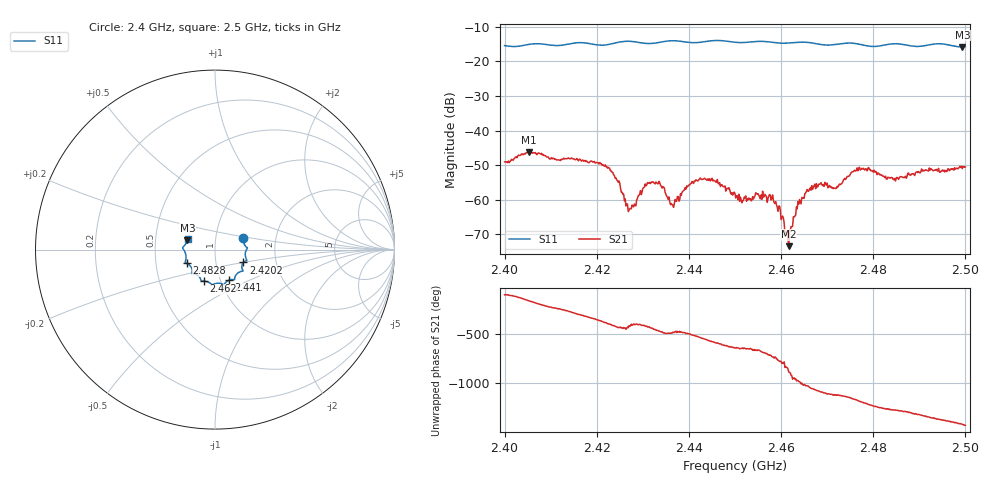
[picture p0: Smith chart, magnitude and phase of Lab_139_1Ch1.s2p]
# Hz S RI R 50
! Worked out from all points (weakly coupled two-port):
!   601 points, 2.4 GHz to 2.5 GHz, reference 50 ohm
!   highest |S21| = -46.25 dB at 2.4053 GHz (marker M1); lowest = -73.5 dB at 2.4617 GHz (marker M2)
!   lowest |S11| = -15.8 dB at 2.4993 GHz (marker M3), VSWR 1.39, Z = 36.5 + j3.87 ohm
!   |S11| at or under -10 dB: start of sweep to end of sweep
!   S12 and S22 are empty: the file has one direction only
!   S11 on the Smith chart (normalised r, x): 2.4 GHz: 1.36, +0.18; 2.4202 GHz: 1.36, -0.20; 2.441 GHz: 1.10, -0.39; 2.462 GHz: 0.84, -0.30; 2.4828 GHz: 0.72, -0.11; 2.5 GHz: 0.73, +0.09
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2.4e9  0.1583 0.0624  -0.00105 -0.00336  0 0  0 0
2.405333e9  0.1768 0.0129  -0.0048 -0.000823  0 0  0 0
2.416667e9  0.1773 -0.0608  0.0025 0.00259  0 0  0 0
2.420167e9  0.1582 -0.0714  0.00343 -0.0001  0 0  0 0
2.423167e9  0.1497 -0.0996  0.00171 -0.00195  0 0  0 0
2.427e9  0.1561 -0.1191  0.000347 -0.000612  0 0  0 0
2.431e9  0.1269 -0.1306  0.000535 -0.00168  0 0  0 0
2.433333e9  0.1115 -0.1511  -0.000634 -0.00157  0 0  0 0
2.436333e9  0.1089 -0.1675  -0.000589 -0.0006  0 0  0 0
2.441e9  0.0783 -0.1699  -0.00157 -0.000677  0 0  0 0
2.45e9  0.0281 -0.1877  0.000298 0.00118  0 0  0 0
2.457833e9  -0.0245 -0.189  0.000987 -4.88e-05  0 0  0 0
2.461667e9  -0.0577 -0.1759  -0.000207 -4.31e-05  0 0  0 0
2.462e9  -0.0605 -0.1758  -0.00036 -1.88e-05  0 0  0 0
2.463833e9  -0.0729 -0.1759  -0.000105 0.000853  0 0  0 0
2.466667e9  -0.0788 -0.1683  0.00142 0.000709  0 0  0 0
2.471833e9  -0.1124 -0.1359  0.00113 -0.000891  0 0  0 0
2.477e9  -0.127 -0.124  -0.000616 -0.00287  0 0  0 0
2.482833e9  -0.1574 -0.0766  -0.00199 9.34e-05  0 0  0 0
2.483333e9  -0.1606 -0.0751  -0.00208 -4.04e-06  0 0  0 0
2.499333e9  -0.1541 0.0517  0.00255 0.00119  0 0  0 0
2.5e9  -0.1523 0.0611  0.00289 0.000656  0 0  0 0
